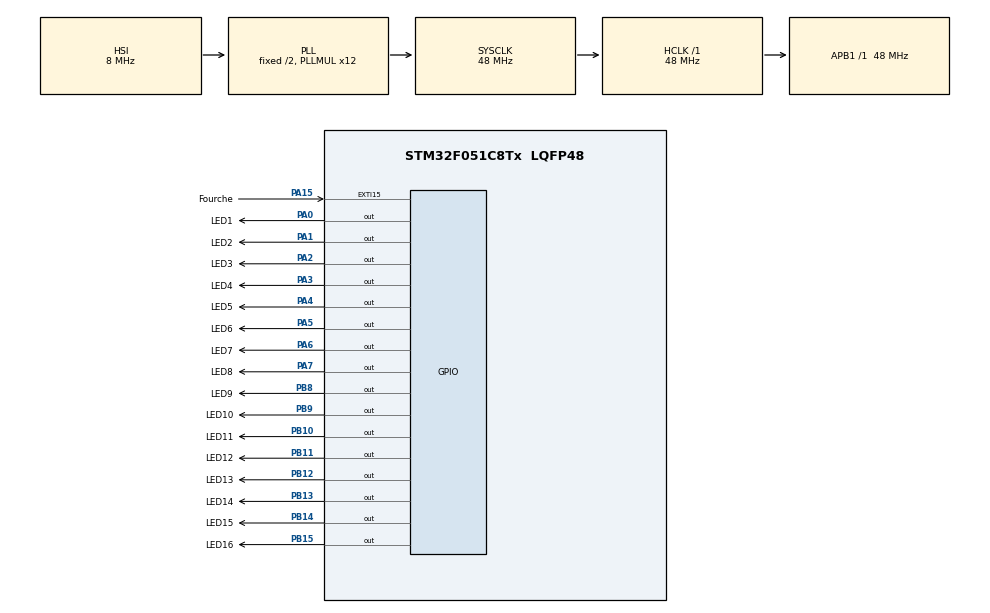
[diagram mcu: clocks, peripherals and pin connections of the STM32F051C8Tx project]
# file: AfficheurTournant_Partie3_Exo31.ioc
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Mcu.Family=STM32F0
Mcu.Name=STM32F051C8Tx
Mcu.Package=LQFP48
Mcu.UserConstants=PSC_TIM17,47;PSC_TIM3,180
NVIC.EXTI4_15_IRQn=true\:0\:0\:false\:false\:true\:true
NVIC.TIM14_IRQn=true\:0\:0\:false\:false\:true\:true
NVIC.TIM17_IRQn=true\:0\:0\:false\:false\:true\:true
NVIC.TIM3_IRQn=true\:0\:0\:false\:false\:true\:true
PA0.GPIO_Label=LED1
PA0.GPIO_Speed=GPIO_SPEED_FREQ_HIGH
PA0.PinState=GPIO_PIN_SET
PA0.Signal=GPIO_Output
PA1.GPIO_Label=LED2
PA1.GPIO_Speed=GPIO_SPEED_FREQ_HIGH
PA1.PinState=GPIO_PIN_SET
PA1.Signal=GPIO_Output
PA15.GPIO_Label=Fourche
PA15.Signal=GPXTI15
PA2.GPIO_Label=LED3
PA2.GPIO_Speed=GPIO_SPEED_FREQ_HIGH
PA2.PinState=GPIO_PIN_SET
PA2.Signal=GPIO_Output
PA3.GPIO_Label=LED4
PA3.GPIO_Speed=GPIO_SPEED_FREQ_HIGH
PA3.PinState=GPIO_PIN_SET
PA3.Signal=GPIO_Output
PA4.GPIO_Label=LED5
PA4.GPIO_Speed=GPIO_SPEED_FREQ_HIGH
PA4.PinState=GPIO_PIN_SET
PA4.Signal=GPIO_Output
PA5.GPIO_Label=LED6
PA5.GPIO_Speed=GPIO_SPEED_FREQ_HIGH
PA5.PinState=GPIO_PIN_SET
PA5.Signal=GPIO_Output
PA6.GPIO_Label=LED7
PA6.GPIO_Speed=GPIO_SPEED_FREQ_HIGH
PA6.PinState=GPIO_PIN_SET
PA6.Signal=GPIO_Output
PA7.GPIO_Label=LED8
PA7.GPIO_Speed=GPIO_SPEED_FREQ_HIGH
PA7.PinState=GPIO_PIN_SET
PA7.Signal=GPIO_Output
PB10.GPIO_Label=LED11
PB10.GPIO_Speed=GPIO_SPEED_FREQ_HIGH
PB10.PinState=GPIO_PIN_SET
PB10.Signal=GPIO_Output
PB11.GPIO_Label=LED12
PB11.GPIO_Speed=GPIO_SPEED_FREQ_HIGH
PB11.PinState=GPIO_PIN_SET
PB11.Signal=GPIO_Output
PB12.GPIO_Label=LED13
PB12.GPIO_Speed=GPIO_SPEED_FREQ_HIGH
PB12.PinState=GPIO_PIN_SET
PB12.Signal=GPIO_Output
PB13.GPIO_Label=LED14
PB13.GPIO_Speed=GPIO_SPEED_FREQ_HIGH
PB13.PinState=GPIO_PIN_SET
PB13.Signal=GPIO_Output
PB14.GPIO_Label=LED15
PB14.GPIO_Speed=GPIO_SPEED_FREQ_HIGH
PB14.PinState=GPIO_PIN_SET
PB14.Signal=GPIO_Output
PB15.GPIO_Label=LED16
PB15.GPIO_Speed=GPIO_SPEED_FREQ_HIGH
PB15.PinState=GPIO_PIN_SET
PB15.Signal=GPIO_Output
PB8.GPIO_Label=LED9
PB8.GPIO_Speed=GPIO_SPEED_FREQ_HIGH
PB8.PinState=GPIO_PIN_SET
PB8.Signal=GPIO_Output
PB9.GPIO_Label=LED10
PB9.GPIO_Speed=GPIO_SPEED_FREQ_HIGH
PB9.PinState=GPIO_PIN_SET
PB9.Signal=GPIO_Output
ProjectManager.HeapSize=0x200
ProjectManager.StackSize=0x400
ProjectManager.TargetToolchain=TrueSTUDIO
RCC.AHBFreq_Value=48000000
RCC.APB1Freq_Value=48000000
RCC.APB1TimFreq_Value=48000000
RCC.HCLKFreq_Value=48000000
RCC.PLLMUL=RCC_PLL_MUL12
RCC.SYSCLKFreq_VALUE=48000000
RCC.SYSCLKSource=RCC_SYSCLKSOURCE_PLLCLK
TIM14.Period=999
TIM14.Prescaler=48000
TIM17.Period=0xFFFF
TIM17.Prescaler=PSC_TIM17
TIM3.Period=350-1
TIM3.Prescaler=PSC_TIM3
VP_TIM14_VS_ClockSourceINT.Mode=Enable_Timer
VP_TIM17_VS_ClockSourceINT.Mode=Enable_Timer
VP_TIM3_VS_ClockSourceINT.Mode=Internal
board=AfficheurTournant_Partie3_Exo31

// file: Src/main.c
/**
  ******************************************************************************
  * @file           : main.c
  * @brief          : Main program body
  ******************************************************************************
  ** This notice applies to any and all portions of this file
  * that are not between comment pairs USER CODE BEGIN and
  * USER CODE END. Other portions of this file, whether
  * inserted by the user or by software development tools
  * are owned by their respective copyright owners.
  *
  * COPYRIGHT(c) 2020 STMicroelectronics
  *
  * Redistribution and use in source and binary forms, with or without modification,
  * are permitted provided that the following conditions are met:
  *   1. Redistributions of source code must retain the above copyright notice,
  *      this list of conditions and the following disclaimer.
  *   2. Redistributions in binary form must reproduce the above copyright notice,
  *      this list of conditions and the following disclaimer in the documentation
  *      and/or other materials provided with the distribution.
  *   3. Neither the name of STMicroelectronics nor the names of its contributors
  *      may be used to endorse or promote products derived from this software
  *      without specific prior written permission.
  *
  * THIS SOFTWARE IS PROVIDED BY THE COPYRIGHT HOLDERS AND CONTRIBUTORS "AS IS"
  * AND ANY EXPRESS OR IMPLIED WARRANTIES, INCLUDING, BUT NOT LIMITED TO, THE
  * IMPLIED WARRANTIES OF MERCHANTABILITY AND FITNESS FOR A PARTICULAR PURPOSE ARE
  * DISCLAIMED. IN NO EVENT SHALL THE COPYRIGHT HOLDER OR CONTRIBUTORS BE LIABLE
  * FOR ANY DIRECT, INDIRECT, INCIDENTAL, SPECIAL, EXEMPLARY, OR CONSEQUENTIAL
  * DAMAGES (INCLUDING, BUT NOT LIMITED TO, PROCUREMENT OF SUBSTITUTE GOODS OR
  * SERVICES; LOSS OF USE, DATA, OR PROFITS; OR BUSINESS INTERRUPTION) HOWEVER
  * CAUSED AND ON ANY THEORY OF LIABILITY, WHETHER IN CONTRACT, STRICT LIABILITY,
  * OR TORT (INCLUDING NEGLIGENCE OR OTHERWISE) ARISING IN ANY WAY OUT OF THE USE
  * OF THIS SOFTWARE, EVEN IF ADVISED OF THE POSSIBILITY OF SUCH DAMAGE.
  *
  ******************************************************************************
  */
#include "main.h"
#include "stm32f0xx_hal.h"

/* USER CODE BEGIN Includes */
#include "Amadou_Charles_Functions.h"
#include "LibCaracteres.h"
/* USER CODE END Includes */

TIM_HandleTypeDef htim3;
TIM_HandleTypeDef htim14;
TIM_HandleTypeDef htim17;

/* USER CODE BEGIN PV */
/* Private variables ---------------------------------------------------------*/
// Tableau de caracteres pour toute la zone d'affichage

/*

static unsigned char Motif_Afficheur [180]={
0xFF,0xFF,0xFF,0xFF,0xFF,0xFF,
0x80,0xF6,0xF6,0xF6,0xF9,0xFF,    //P
0x80,0xBE,0xBE,0xBE,0x80,0xFF,    //O
0x80,0xBF,0xBF,0xBF,0xBF,0xFF,    //L
0xFE,0xFD,0x83,0xFD,0xFE,0xFF,    //Y
0xFE,0xFE,0x80,0xFE,0xFE,0xFF,    //T
0x80,0xB6,0xB6,0xBE,0xBE,0xFF,    //E
0x80,0xBE,0xBE,0xBE,0xBE,0xFF,    //C
0x80,0xF7,0xF7,0xF7,0x80,0xFF,    //H
0xFF,0xFF,0xFF,0xFF,0xFF,0xFF,
0xFF,0xFF,0xFF,0xFF,0xFF,0xFF,
0xFF,0xFF,0xFF,0xFF,0xFF,0xFF,
0xFF,0xFF,0xFF,0xFF,0xFF,0xFF,
0xFF,0xFF,0xFF,0xFF,0xFF,0xFF,
0xFF,0xFF,0xFF,0xFF,0xFF,0xFF,
0xFF,0xFF,0xFF,0xFF,0xFF,0xFF,
0xFF,0xFF,0xFF,0xFF,0xFF,0xFF,
0xFF,0xFF,0xFF,0xFF,0xFF,0xFF,
0xFF,0xFF,0xFF,0xFF,0xFF,0xFF,
0xFF,0xFF,0xFF,0xFF,0xFF,0xFF,
0xFF,0xFF,0xFF,0xFF,0xFF,0xFF,
0xFF,0xFF,0xFF,0xFF,0xFF,0xFF,
0xFF,0xFF,0xFF,0xFF,0xFF,0xFF,
0xFF,0xFF,0xFF,0xFF,0xFF,0xFF,
0xFF,0xFF,0xFF,0xFF,0xFF,0xFF,
0xFF,0xFF,0xFF,0xFF,0xFF,0xFF,
0xFF,0xFF,0xFF,0xFF,0xFF,0xFF,
0xFF,0xFF,0xFF,0xFF,0xFF,0xFF,
0xFF,0xFF,0xFF,0xFF,0xFF,0xFF,
0xFF,0xFF,0xFF,0xFF,0xFF,0XFF
};
*/

static unsigned char Motif_EI2I3 [180]={
0xFF,0xFF,0xFF,0xFF,0xFF,0xFF,
0x80,0xB6,0xB6,0xBE,0xBE,0xFF,    //E
0xBE,0xBE,0x80,0xBE,0xBE,0xFF,    //I
0x86,0xB6,0xB6,0xB6,0xB0,0xFF,    //2
0xBE,0xBE,0x80,0xBE,0xBE,0xFF,    //I
0xBE,0xB6,0xB6,0xB6,0x80,0xFF,    //3
0xFF,0xFF,0xFF,0xFF,0xFF,0xFF,
0xFF,0xFF,0xFF,0xFF,0xFF,0xFF,
0xFF,0xFF,0xFF,0xFF,0xFF,0xFF,
0xFF,0xFF,0xFF,0xFF,0xFF,0xFF,
0xFF,0xFF,0xFF,0xFF,0xFF,0xFF,
0xFF,0xFF,0xFF,0xFF,0xFF,0xFF,
0xFF,0xFF,0xFF,0xFF,0xFF,0xFF,
0xFF,0xFF,0xFF,0xFF,0xFF,0xFF,
0xFF,0xFF,0xFF,0xFF,0xFF,0xFF,
0xFF,0xFF,0xFF,0xFF,0xFF,0xFF,
0xFF,0xFF,0xFF,0xFF,0xFF,0xFF,
0xFF,0xFF,0xFF,0xFF,0xFF,0xFF,
0xFF,0xFF,0xFF,0xFF,0xFF,0xFF,
0xFF,0xFF,0xFF,0xFF,0xFF,0xFF,
0xFF,0xFF,0xFF,0xFF,0xFF,0xFF,
0xFF,0xFF,0xFF,0xFF,0xFF,0xFF,
0xFF,0xFF,0xFF,0xFF,0xFF,0xFF,
0xFF,0xFF,0xFF,0xFF,0xFF,0xFF,
0xFF,0xFF,0xFF,0xFF,0xFF,0xFF,
0xFF,0xFF,0xFF,0xFF,0xFF,0xFF,
0xFF,0xFF,0xFF,0xFF,0xFF,0xFF,
0xFF,0xFF,0xFF,0xFF,0xFF,0xFF,
0xFF,0xFF,0xFF,0xFF,0xFF,0xFF,
0xFF,0xFF,0xFF,0xFF,0xFF,0XFF
};

/* declarer la variable globale : drapeau interruption externe de la Patte PA15 : fourche */
// mettre votre code en dessous
volatile int flag_fourche = 1;
/* declarer la variable globale : drapeau interruption duree pixel  : Timer TIM3 */
// mettre votre code en dessous
volatile int flag_Duree_Pixel = 0;
/* declarer la variable globale : drapeau interruption duree tour complet  : Timer TIM3 */
// mettre votre code en dessous
volatile int flag_Tour_Complet = 0;

/* declarer la variable globale : drapeau interruption seconde */
// mettre votre code en dessous
volatile int flag_sec = 0;
/* USER CODE END PV */

void SystemClock_Config(void);
static void MX_GPIO_Init(void);
static void MX_TIM3_Init(void);
static void MX_TIM17_Init(void);
static void MX_TIM14_Init(void);

/* USER CODE BEGIN PFP */
/* Private function prototypes -----------------------------------------------*/

/* USER CODE END PFP */

int main(void)
{
  /* USER CODE BEGIN 1 */
  /* declarer la variable locale qui compte le nombre de pixel ou colonne */
  // mettre votre code en dessous
	volatile int count_indice_lettre = 0;
	volatile int count_i = 0;

  /* USER CODE END 1 */

  /* MCU Configuration----------------------------------------------------------*/

  /* Reset of all peripherals, Initializes the Flash interface and the Systick. */
  HAL_Init();

  /* Configure the system clock */
  SystemClock_Config();

  /* Initialize all configured peripherals */
  MX_GPIO_Init();
  MX_TIM3_Init();
  MX_TIM17_Init();
  MX_TIM14_Init();
  /* USER CODE BEGIN 2 */
  HAL_TIM_Base_Start_IT(&htim3);
  HAL_TIM_Base_Start_IT(&htim17);
  HAL_TIM_Base_Start_IT(&htim14);

  /* Initialisation de l'heure actuelle */
  volatile int heu_d = 0;
  volatile int heu_u = 0;
  volatile int min_d = 0;
  volatile int min_u = 0;
  volatile int sec_d = 0;
  volatile int sec_u = 0;

  /* USER CODE END 2 */

  /* Infinite loop */
  while (1)
  {

  /* USER CODE BEGIN 3 */

	  if (flag_fourche == 1/* test si le drapeau interruption externe PA15 est a '1' */)
	  {
	    /* reset du drapeau interruption externe PA15 pour synchroniser avec la routine d'interruption*/
        // ecrire le code en dessous
		  flag_fourche = 0;
        /*reset du compteur de colonne*/
        // ecrire le code en dessous
		  count_indice_lettre = 0;

		  if ( (TIM17->CR1 & (1<<0)) == 0/* verifier que le TIMER TIM17 n'est pas arreter */ ) // test si le bit b0 de TIM17_CR1 n'est pas mis à 0
		  {
			  /*si oui alors demarrer le timer TIM17 : mettre à '1' le bit b0 de TIM17_CR1  */
              // ecrire le code en dessous
			  TIM17->CR1 |= (1<<0);
			  /* Demasquer la demande interruption du timer TIM17 : utiliser la fonction NVIC_EnableIRQ(Numero_IRQn) */
			  // ecrire le code en dessous
			  NVIC_EnableIRQ(TIM17_IRQn);
		  }
		  else    // si le TIMER TIM17 n'est pas arreter
		  {
			  /* arreter le timer TIM17 */
              // ecrire le code en dessous
			  TIM17->CR1 &= ~(1<<0);
             /* masquer sa demande interruption du TIM17 : utiliser la fonction NVIC_DisableIRQ(Numero_IRQn)*/
             // ecrire le code en dessous
			  NVIC_DisableIRQ(TIM17_IRQn);
			  /* arreter le timer TIM3 */
              // ecrire le code en dessous
			  TIM3->CR1 &= ~(1<<0);
			  /* masquer la demande interruption du Timer TIM3 : utiliser la fonction NVIC_EnableIRQ(Numero_IRQn)*/
			  // ecrire le code en dessous
			  NVIC_DisableIRQ(TIM3_IRQn);
			  /* copier la valeur du compteur de TIM17 (TIM17_CNT) dans le registre TIM3_ARR du TIMER TIM3 */
			  // ecrire le code en dessous
			  TIM3->ARR = TIM17->CNT;
			  /* mettre a zero le compteur de TIM3 */
			  // ecrire le code en dessous
			  TIM3->CNT &= 0;
			  /* Demarrer le Timer TIM3 */
			  // ecrire le code en dessous
			  TIM3->CR1 |= (1<<0);
			  /* Demasquer la demande interruption de TIM3 : utiliser la fonction NVIC_DisableIRQ(Numero_IRQn) */
			  // ecrire le code en dessous
			  NVIC_EnableIRQ(TIM3_IRQn);
			  /* mettre a zero le compteur de TIM17 */
			  // ecrire le code ici
			  TIM17->CNT &= 0;
			  /* Demarrer le Timer TIM17 */
			  // ecrire le code en dessous
			  TIM17->CR1 |= (1<<0);
			  /* Demasquer la demande interruption de TIM17 : utiliser la fonction NVIC_DisableIRQ(Numero_IRQn) */
			  // ecrire le code en dessous
			  NVIC_EnableIRQ(TIM17_IRQn);

		  }
	  }

	  if (flag_Tour_Complet == 1/* test si le drapeau interruption Timer duree tour complet vaut '1' : TIM17 */)
	  {

		  /* remettre le drapeau interruption Timer dureePixel a '1' : TIM3 */
		  // ecrire le code en dessous
		  flag_Tour_Complet = 0;

		  /* arreter le timer tim17 */
		  // ecrire le code en dessous
		  TIM17->CR1 &= ~(1<<0);

		  /* masquer la demande interruption du TIM17 */
		  // ecrire le code en dessous
		  NVIC_DisableIRQ(TIM17_IRQn);

	  }

	  if (flag_Duree_Pixel == 1/* test si le drapeau interruption Timer duree Pixel a '1' : TIM3 */)
	  {
		  /* remettre le drapeau interruption Timer dureePixel a '1' : TIM3 */
		  // ecrire le code ici
		  flag_Duree_Pixel = 0;
		  /* realiser affichage d'une colonne */
		  // ecrire le code en dessous
		  // Challenge 1 : GPIOA et 0 pour ligne 1 & GPIOB, 8 pour la ligne 2

		  affiche_heure(GPIOA, 0, heu_d, heu_u, min_d, min_u, sec_d, sec_u, count_indice_lettre, count_i);

		  //affiche_Colonne(GPIOA, 0, Motif_EI2I3, count_indice_lettre);

		  /* preparer pour l'affichage de la colonne suivante */
		  // ecrire le code en dessous
		  if ( (count_i+1) == 6){
			  count_indice_lettre++;
		  }
		  count_i = (count_i+1) % 6;
	  }

	  if (flag_sec == 1){
		  flag_sec = 0;
		  incremente_heure(&heu_d, &heu_u, &min_d, &min_u, &sec_d, &sec_u);
	  }

  }
  /* USER CODE END 3 */

}

void SystemClock_Config(void)
{

  RCC_OscInitTypeDef RCC_OscInitStruct;
  RCC_ClkInitTypeDef RCC_ClkInitStruct;

    /**Initializes the CPU, AHB and APB busses clocks
    */
  RCC_OscInitStruct.OscillatorType = RCC_OSCILLATORTYPE_HSI;
  RCC_OscInitStruct.HSIState = RCC_HSI_ON;
  RCC_OscInitStruct.HSICalibrationValue = 16;
  RCC_OscInitStruct.PLL.PLLState = RCC_PLL_ON;
  RCC_OscInitStruct.PLL.PLLSource = RCC_PLLSOURCE_HSI;
  RCC_OscInitStruct.PLL.PLLMUL = RCC_PLL_MUL12;
  RCC_OscInitStruct.PLL.PREDIV = RCC_PREDIV_DIV1;
  if (HAL_RCC_OscConfig(&RCC_OscInitStruct) != HAL_OK)
  {
    _Error_Handler(__FILE__, __LINE__);
  }

    /**Initializes the CPU, AHB and APB busses clocks
    */
  RCC_ClkInitStruct.ClockType = RCC_CLOCKTYPE_HCLK|RCC_CLOCKTYPE_SYSCLK
                              |RCC_CLOCKTYPE_PCLK1;
  RCC_ClkInitStruct.SYSCLKSource = RCC_SYSCLKSOURCE_PLLCLK;
  RCC_ClkInitStruct.AHBCLKDivider = RCC_SYSCLK_DIV1;
  RCC_ClkInitStruct.APB1CLKDivider = RCC_HCLK_DIV1;

  if (HAL_RCC_ClockConfig(&RCC_ClkInitStruct, FLASH_LATENCY_1) != HAL_OK)
  {
    _Error_Handler(__FILE__, __LINE__);
  }

    /**Configure the Systick interrupt time
    */
  HAL_SYSTICK_Config(HAL_RCC_GetHCLKFreq()/1000);

    /**Configure the Systick
    */
  HAL_SYSTICK_CLKSourceConfig(SYSTICK_CLKSOURCE_HCLK);

  /* SysTick_IRQn interrupt configuration */
  HAL_NVIC_SetPriority(SysTick_IRQn, 0, 0);
}

/* TIM3 init function */
static void MX_TIM3_Init(void)
{

  TIM_ClockConfigTypeDef sClockSourceConfig;
  TIM_MasterConfigTypeDef sMasterConfig;

  htim3.Instance = TIM3;
  htim3.Init.Prescaler = PSC_TIM3;
  htim3.Init.CounterMode = TIM_COUNTERMODE_UP;
  htim3.Init.Period = 350-1;
  htim3.Init.ClockDivision = TIM_CLOCKDIVISION_DIV1;
  htim3.Init.AutoReloadPreload = TIM_AUTORELOAD_PRELOAD_DISABLE;
  if (HAL_TIM_Base_Init(&htim3) != HAL_OK)
  {
    _Error_Handler(__FILE__, __LINE__);
  }

  sClockSourceConfig.ClockSource = TIM_CLOCKSOURCE_INTERNAL;
  if (HAL_TIM_ConfigClockSource(&htim3, &sClockSourceConfig) != HAL_OK)
  {
    _Error_Handler(__FILE__, __LINE__);
  }

  sMasterConfig.MasterOutputTrigger = TIM_TRGO_RESET;
  sMasterConfig.MasterSlaveMode = TIM_MASTERSLAVEMODE_DISABLE;
  if (HAL_TIMEx_MasterConfigSynchronization(&htim3, &sMasterConfig) != HAL_OK)
  {
    _Error_Handler(__FILE__, __LINE__);
  }

}

/* TIM14 init function */
static void MX_TIM14_Init(void)
{

  htim14.Instance = TIM14;
  htim14.Init.Prescaler = 48000;
  htim14.Init.CounterMode = TIM_COUNTERMODE_UP;
  htim14.Init.Period = 999;
  htim14.Init.ClockDivision = TIM_CLOCKDIVISION_DIV1;
  htim14.Init.AutoReloadPreload = TIM_AUTORELOAD_PRELOAD_DISABLE;
  if (HAL_TIM_Base_Init(&htim14) != HAL_OK)
  {
    _Error_Handler(__FILE__, __LINE__);
  }

}

/* TIM17 init function */
static void MX_TIM17_Init(void)
{

  htim17.Instance = TIM17;
  htim17.Init.Prescaler = PSC_TIM17;
  htim17.Init.CounterMode = TIM_COUNTERMODE_UP;
  htim17.Init.Period = 0xFFFF;
  htim17.Init.ClockDivision = TIM_CLOCKDIVISION_DIV1;
  htim17.Init.RepetitionCounter = 0;
  htim17.Init.AutoReloadPreload = TIM_AUTORELOAD_PRELOAD_DISABLE;
  if (HAL_TIM_Base_Init(&htim17) != HAL_OK)
  {
    _Error_Handler(__FILE__, __LINE__);
  }

}

/** Configure pins as
        * Analog
        * Input
        * Output
        * EVENT_OUT
        * EXTI
*/
static void MX_GPIO_Init(void)
{

  GPIO_InitTypeDef GPIO_InitStruct;

  /* GPIO Ports Clock Enable */
  __HAL_RCC_GPIOA_CLK_ENABLE();
  __HAL_RCC_GPIOB_CLK_ENABLE();

  /*Configure GPIO pin Output Level */
  HAL_GPIO_WritePin(GPIOA, LED1_Pin|LED2_Pin|LED3_Pin|LED4_Pin
                          |LED5_Pin|LED6_Pin|LED7_Pin|LED8_Pin, GPIO_PIN_SET);

  /*Configure GPIO pin Output Level */
  HAL_GPIO_WritePin(GPIOB, LED11_Pin|LED12_Pin|LED13_Pin|LED14_Pin
                          |LED15_Pin|LED16_Pin|LED9_Pin|LED10_Pin, GPIO_PIN_SET);

  /*Configure GPIO pins : LED1_Pin LED2_Pin LED3_Pin LED4_Pin
                           LED5_Pin LED6_Pin LED7_Pin LED8_Pin */
  GPIO_InitStruct.Pin = LED1_Pin|LED2_Pin|LED3_Pin|LED4_Pin
                          |LED5_Pin|LED6_Pin|LED7_Pin|LED8_Pin;
  GPIO_InitStruct.Mode = GPIO_MODE_OUTPUT_PP;
  GPIO_InitStruct.Pull = GPIO_NOPULL;
  GPIO_InitStruct.Speed = GPIO_SPEED_FREQ_HIGH;
  HAL_GPIO_Init(GPIOA, &GPIO_InitStruct);

  /*Configure GPIO pins : LED11_Pin LED12_Pin LED13_Pin LED14_Pin
                           LED15_Pin LED16_Pin LED9_Pin LED10_Pin */
  GPIO_InitStruct.Pin = LED11_Pin|LED12_Pin|LED13_Pin|LED14_Pin
                          |LED15_Pin|LED16_Pin|LED9_Pin|LED10_Pin;
  GPIO_InitStruct.Mode = GPIO_MODE_OUTPUT_PP;
  GPIO_InitStruct.Pull = GPIO_NOPULL;
  GPIO_InitStruct.Speed = GPIO_SPEED_FREQ_HIGH;
  HAL_GPIO_Init(GPIOB, &GPIO_InitStruct);

  /*Configure GPIO pin : Fourche_Pin */
  GPIO_InitStruct.Pin = Fourche_Pin;
  GPIO_InitStruct.Mode = GPIO_MODE_IT_RISING;
  GPIO_InitStruct.Pull = GPIO_NOPULL;
  HAL_GPIO_Init(Fourche_GPIO_Port, &GPIO_InitStruct);

  /* EXTI interrupt init*/
  HAL_NVIC_SetPriority(EXTI4_15_IRQn, 0, 0);
  HAL_NVIC_EnableIRQ(EXTI4_15_IRQn);

}

/* USER CODE BEGIN 4 */

/*===============================================================================
  FUNCTION:     HAL_GPIO_EXTI_Callback(uint16_t GPIO_Pin)
  DESCRIPTION:  Fonction CallBack : appeler a chaque changement état sur les pattes
  PARAMETERS:   rien
  RETURNS:      rien
  REQUIREMENTS: la patte doit etre configurer en interruption externe
===============================================================================*/

void HAL_GPIO_EXTI_Callback(uint16_t GPIO_Pin)
{
	if (GPIO_Pin==Fourche_Pin)  // Test si c'est la patte PA15
	{
		/* Mettre a '1' le drapeau interruption externe de la Patte PA15 : fourche */
		// ecrire le code en dessous
		flag_fourche = 1;
	}
}

/*===============================================================================
  FUNCTION:     HAL_TIM_PeriodElapsedCallback(TIM_HandleTypeDef *htim)
  DESCRIPTION:  Fonction CallBack : appeler a chaque changement état sur la patte PA15
  PARAMETERS:   rien
  RETURNS:      rien
  REQUIREMENTS: rien
===============================================================================*/
void HAL_TIM_PeriodElapsedCallback(TIM_HandleTypeDef *htim)
{
	if (htim->Instance == TIM3)
	{
		/* Mettre a '1' le drapeau interruption duree pixel ou colonne : TIM3 */
		// ecrire le code en dessous
		flag_Duree_Pixel = 1;
	}

	if (htim->Instance == TIM17)
	{
		/* Mettre a '1' le drapeau interruption duree tour complet : TIM17 */
		// ecrire le code en dessous
		flag_Tour_Complet = 1;
	}

	if (htim->Instance == TIM14)
	{
		/* Mettre a '1' le drapeau interruption seconde: TIM14 */
		// ecrire le code en dessous
		flag_sec = 1;
	}
}

/* USER CODE END 4 */

void _Error_Handler(char *file, int line)
{
  while(1)
  {
  }
}

/************************ (C) COPYRIGHT STMicroelectronics *****END OF FILE****/
